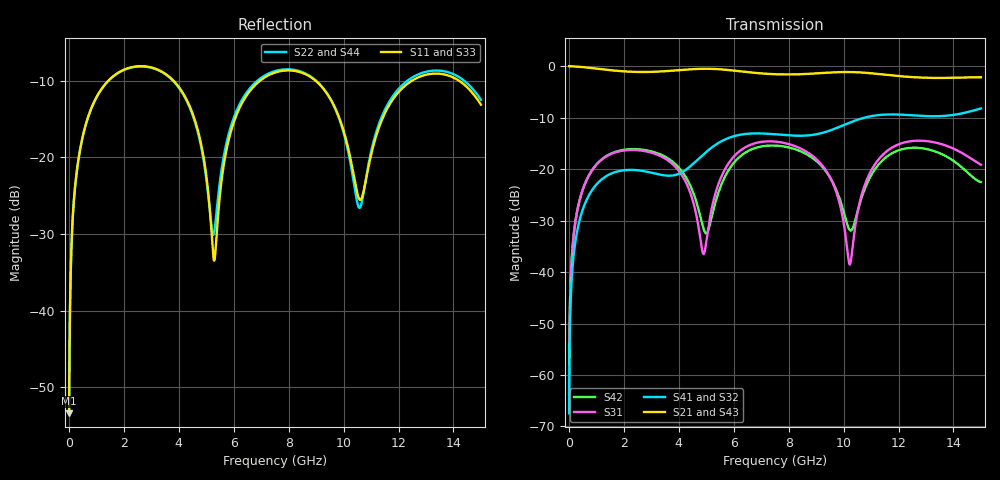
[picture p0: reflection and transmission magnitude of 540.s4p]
! Created with skrf 1.8.0 (http://scikit-rf.org).
# GHz S RI R 50.0
!freq ReS11 ImS11 ReS12 ImS12 ReS13 ImS13
! ReS14 ImS14
! ReS21 ImS21 ReS22 ImS22 ReS23 ImS23
! ReS24 ImS24
! ReS31 ImS31 ReS32 ImS32 ReS33 ImS33
! ReS34 ImS34
! ReS41 ImS41 ReS42 ImS42 ReS43 ImS43
! ReS44 ImS44
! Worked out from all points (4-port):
!   2499 points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, 5 MHz to 15 GHz, reference 50 ohm
!   strongest paths, dB at 5 MHz, 3.476 GHz, 7.19 GHz, 11.1 GHz, 15 GHz:
!     S21: 0.0, -1.0, -1.5, -1.4, -2.2
!     S43: 0.0, -1.0, -1.5, -1.4, -2.1
!     S41: -67.4, -21.2, -13.1, -9.6, -8.2
!     S32: -67.4, -21.3, -13.2, -9.6, -8.2
!     S31: -63.5, -17.9, -14.6, -19.4, -19.2
!     S42: -63.5, -17.5, -15.5, -20.4, -22.5
!   lowest |S11| = -53.4 dB at 5 MHz (marker M1), VSWR 1.00, Z = 50.2 + j0.13 ohm
!   |S11| at or under -10 dB: start of sweep to 1.427 GHz; 3.812 GHz to 6.949 GHz (3.138 GHz wide, 58.3 % of centre); 8.989 GHz to 12.48 GHz (3.489 GHz wide, 32.5 % of centre) (the widest 3 of 4)
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0.005  0.0017 0.00129  0.9983 -0.00331  8.5e-05 0.000661  -8.27e-05 -0.000416
       0.9983 -0.00331  0.0017 0.00129  -8.27e-05 -0.000416  8.51e-05 0.000661
       8.5e-05 0.000661  -8.27e-05 -0.000416  0.0017 0.00129  0.9983 -0.00331
       -8.27e-05 -0.000416  8.51e-05 0.000661  0.9983 -0.00331  0.0017 0.00129
0.3126303  0.0256 0.0849  0.9651 -0.2056  0.0114 0.0391  -0.00965 -0.0243
           0.9651 -0.2056  0.0255 0.0849  -0.00965 -0.0243  0.0117 0.039
           0.0114 0.0391  -0.00965 -0.0243  0.0256 0.0849  0.9651 -0.2056
           -0.00965 -0.0243  0.0117 0.039  0.9651 -0.2056  0.0255 0.0849
1.569404  0.2863 0.1724  0.5163 -0.7483  0.1287 0.0588  -0.0911 -0.000775
          0.5163 -0.7483  0.2848 0.1735  -0.0911 -0.000845  0.133 0.0524
          0.1287 0.0588  -0.0911 -0.000845  0.2864 0.1724  0.5163 -0.7484
          -0.0911 -0.000775  0.133 0.0524  0.5163 -0.7484  0.2848 0.1736
5.289704  0.0212 -0.000118  -0.9364 -0.0536  0.027 0.0453  -0.00409 0.1685
          -0.9364 -0.0536  0.0316 0.00793  -0.00518 0.1685  -0.0137 0.0408
          0.027 0.0453  -0.00518 0.1685  0.0214 -0.000686  -0.9364 -0.0536
          -0.00409 0.1685  -0.0137 0.0408  -0.9364 -0.0536  0.0316 0.00728
8.153397  0.3679 -0.0248  -0.01 0.8302  0.1418 -0.0935  0.2016 -0.0634
          -0.01 0.8302  0.3725 -0.0365  0.2014 -0.061  0.1379 -0.0774
          0.1418 -0.0935  0.2014 -0.061  0.3692 -0.0271  -0.00947 0.8298
          0.2016 -0.0634  0.1379 -0.0774  -0.00947 0.8298  0.3732 -0.0349
10.93581  0.0677 0.0622  0.8531 -0.0566  0.0538 0.0708  -0.0394 -0.3212
          0.8531 -0.0566  0.0646 0.071  -0.0346 -0.3219  0.0314 0.0739
          0.0538 0.0708  -0.0346 -0.3219  0.0634 0.0572  0.8536 -0.056
          -0.0394 -0.3212  0.0314 0.0739  0.8536 -0.056  0.0678 0.0646
15  0.1917 -0.1104  -0.5499 -0.5521  -0.096 -0.0541  -0.2723 0.2765
    -0.5499 -0.5521  0.2007 -0.128  -0.2771 0.2713  -0.0715 -0.0221
    -0.096 -0.0541  -0.2771 0.2713  0.1848 -0.1012  -0.5566 -0.549
    -0.2723 0.2765  -0.0715 -0.0221  -0.5566 -0.549  0.1892 -0.1244
